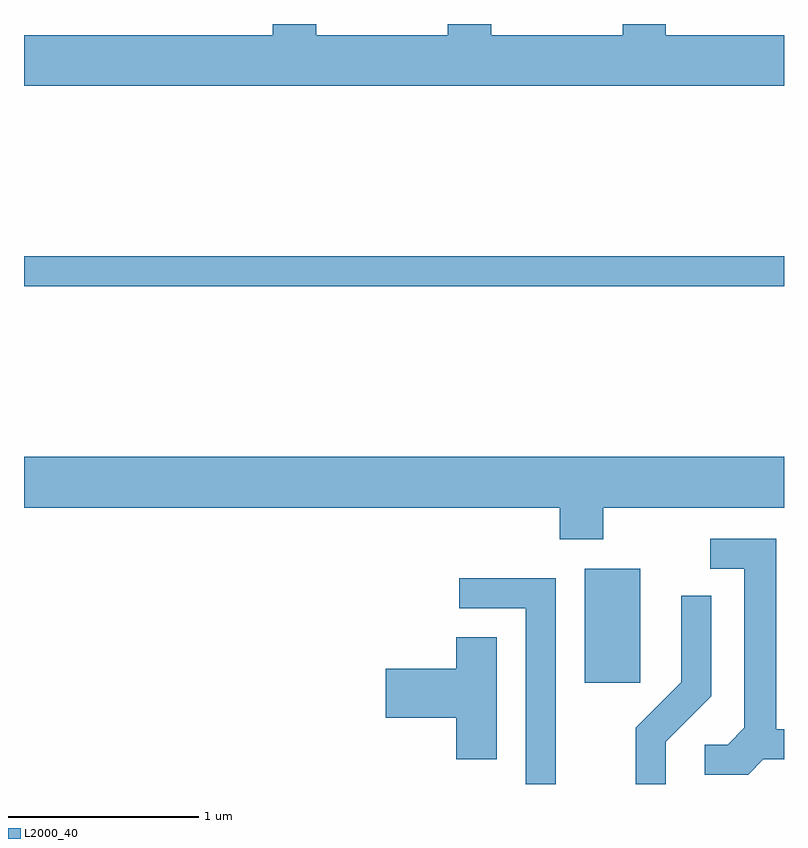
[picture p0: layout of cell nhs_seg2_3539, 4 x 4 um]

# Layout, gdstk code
import gdstk
lib = gdstk.Library(unit=1e-6, precision=1e-09)
def R(c, l, rs):  # rectangles x0, y0, x1, y1
    for r in rs: c.add(gdstk.rectangle(r[:2], r[2:], *l))
def P(c, l, *ps):  # polygons
    for p in ps: c.add(gdstk.Polygon(p, *l))
L2000_40 = (2000, 40)

nhs_seg2_3539 = lib.new_cell('nhs_seg2_3539')
R(nhs_seg2_3539, L2000_40, [(292.561,996.336,292.854,996.934), (289.611,998.421,293.611,998.579)])
P(nhs_seg2_3539, L2000_40, [(293.611,999.744),(292.989,999.744),(292.989,999.802),(292.761,999.802),(292.761,999.744),(292.069,999.744),(292.069,999.802),(291.841,999.802),(291.841,999.744),(291.149,999.744),(291.149,999.802),(290.921,999.802),(290.921,999.744),(289.611,999.744),(289.611,999.476),(293.611,999.476)],
  [(292.659,997.256),(293.611,997.256),(293.611,997.524),(289.611,997.524),(289.611,997.256),(292.431,997.256),(292.431,997.091),(292.659,997.091)],
  [(293.502,995.931),(293.611,995.931),(293.611,996.089),(293.569,996.089),(293.569,997.094),(293.223,997.094),(293.223,996.936),(293.401,996.936),(293.401,996.097),(293.314,996.009),(293.193,996.009),(293.193,995.851),(293.422,995.851)],
  [(292.409,996.884),(291.903,996.884),(291.903,996.726),(292.251,996.726),(292.251,995.802),(292.409,995.802)],
  [(292.989,996.024),(293.229,996.264),(293.229,996.793),(293.071,996.793),(293.071,996.337),(292.831,996.097),(292.831,995.802),(292.989,995.802)],
  [(292.099,996.574),(291.886,996.574),(291.886,996.409),(291.516,996.409),(291.516,996.151),(291.886,996.151),(291.886,995.931),(292.099,995.931)])

lib.write_gds('nhs_seg2_3539.gds')
